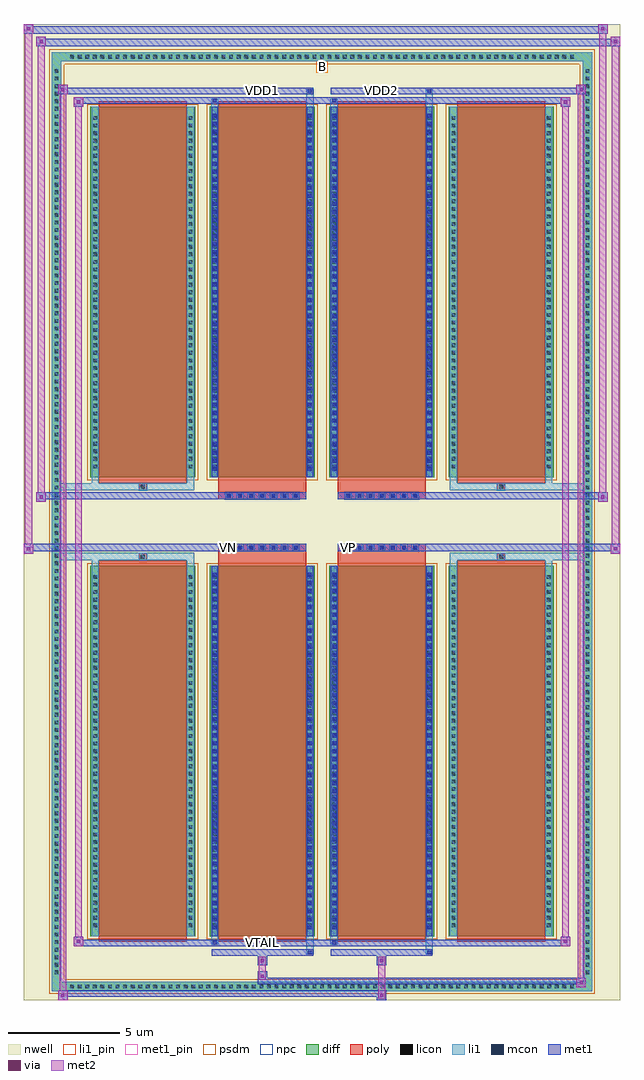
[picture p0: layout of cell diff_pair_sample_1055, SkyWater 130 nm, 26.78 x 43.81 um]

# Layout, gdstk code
import gdstk
lib = gdstk.Library(unit=1e-6, precision=5e-09)
def R(c, l, rs):  # rectangles x0, y0, x1, y1
    for r in rs: c.add(gdstk.rectangle(r[:2], r[2:], *l))
def A(c, l, x, y, w, h, nx, ny, dx, dy):  # array of equal rectangles
    R(c, l, [(x+i*dx, y+j*dy, x+i*dx+w, y+j*dy+h) for i in range(nx) for j in range(ny)])
def P(c, l, *ps):  # polygons
    for p in ps: c.add(gdstk.Polygon(p, *l))
nwell = (64, 20)
diff = (65, 20)
poly = (66, 20)
licon = (66, 44)
li1_pin = (67, 16)
li1 = (67, 20)
mcon = (67, 44)
met1_pin = (68, 16)
met1 = (68, 20)
via = (68, 44)
met2 = (69, 20)
psdm = (94, 20)
npc = (95, 20)

diff_pair_sample_1055 = lib.new_cell('diff_pair_sample_1055')
R(diff_pair_sample_1055, nwell, [(-13.39,-21.47,13.39,22.34), (-10.71,-19.66,-0.01,-0.8), (0.01,-19.66,10.71,-0.8), (-10.71,0.8,-0.01,19.66), (0.01,0.8,10.71,19.66)])
A(diff_pair_sample_1055, diff, -11.425, -21.07, 0.41, 0.41, 67, 2, 0.34, 41.73)
A(diff_pair_sample_1055, diff, -12.12, -20.435, 0.41, 0.41, 1, 120, 0, 0.34)
A(diff_pair_sample_1055, diff, 11.71, -20.435, 0.41, 0.41, 1, 120, 0, 0.34)
A(diff_pair_sample_1055, diff, -10.4, -18.615, 4.72, 16.63, 4, 2, 5.36, 20.6)
R(diff_pair_sample_1055, diff, [(-11.425,-21.07,11.425,-20.66), (-12.12,-20.435,-11.71,20.435), (11.71,-20.435,12.12,20.435), (-11.425,20.66,11.425,21.07)])
P(diff_pair_sample_1055, diff, [(12.12,21.07),(-12.12,21.07),(-12.12,-20.66),(-11.71,-20.66),(-11.71,20.66),(11.71,20.66),(11.71,-20.66),(-11.71,-20.66),(-12.12,-20.66),(-12.12,-21.07),(12.12,-21.07)])
A(diff_pair_sample_1055, poly, -10.01, -18.865, 3.94, 17.13, 4, 2, 5.36, 20.6)
A(diff_pair_sample_1055, poly, -4.345, -1.33, 0.33, 0.33, 7, 2, 0.5, 2.33)
A(diff_pair_sample_1055, poly, 1.015, -1.33, 0.33, 0.33, 7, 2, 0.5, 2.33)
R(diff_pair_sample_1055, poly, [(-8.205,-1.735,-7.875,-1.405), (-8.205,-1.735,-7.875,-1.405), (-4.65,-1.735,-0.71,-1.33), (0.71,-1.735,4.65,-1.33), (7.875,-1.735,8.205,-1.405), (7.875,-1.735,8.205,-1.405), (-4.65,-1.33,-0.71,-1), (0.71,-1.33,4.65,-1), (-4.65,1,-0.71,1.33), (0.71,1,4.65,1.33), (-4.65,1.33,-0.71,1.735), (0.71,1.33,4.65,1.735), (-8.205,1.405,-7.875,1.735), (-8.205,1.405,-7.875,1.735), (7.875,1.405,8.205,1.735), (7.875,1.405,8.205,1.735)])
A(diff_pair_sample_1055, licon, -11.305, -20.95, 0.17, 0.17, 67, 2, 0.34, 41.73)
A(diff_pair_sample_1055, licon, -12, -20.315, 0.17, 0.17, 1, 120, 0, 0.34)
A(diff_pair_sample_1055, licon, 11.83, -20.315, 0.17, 0.17, 1, 120, 0, 0.34)
A(diff_pair_sample_1055, licon, -10.26, -18.205, 0.17, 0.17, 1, 47, 0, 0.34)
A(diff_pair_sample_1055, licon, -5.99, -18.205, 0.17, 0.17, 1, 47, 0, 0.34)
A(diff_pair_sample_1055, licon, -4.9, -18.205, 0.17, 0.17, 1, 47, 0, 0.34)
A(diff_pair_sample_1055, licon, -0.63, -18.205, 0.17, 0.17, 1, 47, 0, 0.34)
A(diff_pair_sample_1055, licon, 0.46, -18.205, 0.17, 0.17, 1, 47, 0, 0.34)
A(diff_pair_sample_1055, licon, 4.73, -18.205, 0.17, 0.17, 1, 47, 0, 0.34)
A(diff_pair_sample_1055, licon, 5.82, -18.205, 0.17, 0.17, 1, 47, 0, 0.34)
A(diff_pair_sample_1055, licon, 10.09, -18.205, 0.17, 0.17, 1, 47, 0, 0.34)
A(diff_pair_sample_1055, licon, -4.265, -1.25, 0.17, 0.17, 7, 2, 0.5, 2.33)
A(diff_pair_sample_1055, licon, 1.095, -1.25, 0.17, 0.17, 7, 2, 0.5, 2.33)
A(diff_pair_sample_1055, licon, -10.26, 2.395, 0.17, 0.17, 1, 47, 0, 0.34)
A(diff_pair_sample_1055, licon, -5.99, 2.395, 0.17, 0.17, 1, 47, 0, 0.34)
A(diff_pair_sample_1055, licon, -4.9, 2.395, 0.17, 0.17, 1, 47, 0, 0.34)
A(diff_pair_sample_1055, licon, -0.63, 2.395, 0.17, 0.17, 1, 47, 0, 0.34)
A(diff_pair_sample_1055, licon, 0.46, 2.395, 0.17, 0.17, 1, 47, 0, 0.34)
A(diff_pair_sample_1055, licon, 4.73, 2.395, 0.17, 0.17, 1, 47, 0, 0.34)
A(diff_pair_sample_1055, licon, 5.82, 2.395, 0.17, 0.17, 1, 47, 0, 0.34)
A(diff_pair_sample_1055, licon, 10.09, 2.395, 0.17, 0.17, 1, 47, 0, 0.34)
R(diff_pair_sample_1055, licon, [(-8.125,-1.655,-7.955,-1.485), (7.955,-1.655,8.125,-1.485), (-8.125,1.485,-7.955,1.655), (7.955,1.485,8.125,1.655)])
R(diff_pair_sample_1055, li1_pin, [(-0.25,20.16,0.25,20.66)])
A(diff_pair_sample_1055, li1, -11.385, -21.03, 0.33, 0.33, 67, 2, 0.34, 41.73)
A(diff_pair_sample_1055, li1, -12.08, -20.395, 0.33, 0.33, 1, 120, 0, 0.34)
A(diff_pair_sample_1055, li1, 11.75, -20.395, 0.33, 0.33, 1, 120, 0, 0.34)
A(diff_pair_sample_1055, li1, -4.9, -18.305, 0.17, 0.17, 1, 45, 0, 0.36)
A(diff_pair_sample_1055, li1, -0.63, -18.305, 0.17, 0.17, 1, 45, 0, 0.36)
A(diff_pair_sample_1055, li1, 0.46, -18.305, 0.17, 0.17, 1, 45, 0, 0.36)
A(diff_pair_sample_1055, li1, 4.73, -18.305, 0.17, 0.17, 1, 45, 0, 0.36)
A(diff_pair_sample_1055, li1, -10.34, -18.285, 0.33, 0.33, 1, 47, 0, 0.34)
A(diff_pair_sample_1055, li1, -6.07, -18.285, 0.33, 0.33, 1, 47, 0, 0.34)
A(diff_pair_sample_1055, li1, -4.98, -18.285, 0.33, 0.33, 1, 47, 0, 0.34)
A(diff_pair_sample_1055, li1, -0.71, -18.285, 0.33, 0.33, 1, 47, 0, 0.34)
A(diff_pair_sample_1055, li1, 0.38, -18.285, 0.33, 0.33, 1, 47, 0, 0.34)
A(diff_pair_sample_1055, li1, 4.65, -18.285, 0.33, 0.33, 1, 47, 0, 0.34)
A(diff_pair_sample_1055, li1, 5.74, -18.285, 0.33, 0.33, 1, 47, 0, 0.34)
A(diff_pair_sample_1055, li1, 10.01, -18.285, 0.33, 0.33, 1, 47, 0, 0.34)
A(diff_pair_sample_1055, li1, -4.345, -1.33, 0.33, 0.33, 7, 2, 0.5, 2.33)
A(diff_pair_sample_1055, li1, 1.015, -1.33, 0.33, 0.33, 7, 2, 0.5, 2.33)
A(diff_pair_sample_1055, li1, -4.9, 2.295, 0.17, 0.17, 1, 45, 0, 0.36)
A(diff_pair_sample_1055, li1, -0.63, 2.295, 0.17, 0.17, 1, 45, 0, 0.36)
A(diff_pair_sample_1055, li1, 0.46, 2.295, 0.17, 0.17, 1, 45, 0, 0.36)
A(diff_pair_sample_1055, li1, 4.73, 2.295, 0.17, 0.17, 1, 45, 0, 0.36)
A(diff_pair_sample_1055, li1, -10.34, 2.315, 0.33, 0.33, 1, 47, 0, 0.34)
A(diff_pair_sample_1055, li1, -6.07, 2.315, 0.33, 0.33, 1, 47, 0, 0.34)
A(diff_pair_sample_1055, li1, -4.98, 2.315, 0.33, 0.33, 1, 47, 0, 0.34)
A(diff_pair_sample_1055, li1, -0.71, 2.315, 0.33, 0.33, 1, 47, 0, 0.34)
A(diff_pair_sample_1055, li1, 0.38, 2.315, 0.33, 0.33, 1, 47, 0, 0.34)
A(diff_pair_sample_1055, li1, 4.65, 2.315, 0.33, 0.33, 1, 47, 0, 0.34)
A(diff_pair_sample_1055, li1, 5.74, 2.315, 0.33, 0.33, 1, 47, 0, 0.34)
A(diff_pair_sample_1055, li1, 10.01, 2.315, 0.33, 0.33, 1, 47, 0, 0.34)
R(diff_pair_sample_1055, li1, [(-12.12,-21.07,-11.71,-20.66), (-12.12,-21.07,-11.71,-20.66), (-11.71,-21.07,11.71,-20.66), (11.71,-21.07,12.12,-20.66), (11.71,-21.07,12.12,-20.66), (-12.12,-20.66,-11.71,20.66), (11.71,-20.66,12.12,20.66), (-0.71,-19.42,-0.38,-18.615), (-0.63,-19.42,-0.46,-19.25), (4.65,-19.42,4.98,-18.615), (4.73,-19.42,4.9,-19.25), (-4.98,-18.99,-4.65,-18.615), (-4.9,-18.99,-4.73,-18.82), (0.38,-18.99,0.71,-18.615), (0.46,-18.99,0.63,-18.82), (-10.34,-18.615,-10.01,-1.985), (-6.07,-18.615,-5.74,-1.985), (-4.98,-18.615,-4.65,-1.985), (-0.71,-18.615,-0.38,-1.985), (0.38,-18.615,0.71,-1.985), (4.65,-18.615,4.98,-1.985), (5.74,-18.615,6.07,-1.985), (10.01,-18.615,10.34,-1.985), (-4.9,-18.305,-4.73,-2.295), (-0.63,-18.305,-0.46,-2.295), (0.46,-18.305,0.63,-2.295), (4.73,-18.305,4.9,-2.295), (-10.34,-1.985,-10.01,-1.405), (-6.07,-1.985,-5.74,-1.405), (5.74,-1.985,6.07,-1.405), (10.01,-1.985,10.34,-1.405), (-12.12,-1.735,-8.205,-1.405), (-10.34,-1.735,-8.205,-1.405), (-8.205,-1.735,-7.875,-1.405), (-7.875,-1.735,-5.74,-1.405), (5.74,-1.735,7.875,-1.405), (7.875,-1.735,8.205,-1.405), (7.875,-1.735,12.12,-1.405), (8.205,-1.735,10.34,-1.405), (-12.12,1.405,-8.205,1.735), (-10.34,1.405,-8.205,1.735), (-10.34,1.405,-10.01,1.985), (-8.205,1.405,-7.875,1.735), (-7.875,1.405,-5.74,1.735), (-6.07,1.405,-5.74,1.985), (5.74,1.405,7.875,1.735), (5.74,1.405,6.07,1.985), (7.875,1.405,8.205,1.735), (7.875,1.405,12.12,1.735), (8.205,1.405,10.34,1.735), (10.01,1.405,10.34,1.985), (-10.34,1.985,-10.01,18.615), (-6.07,1.985,-5.74,18.615), (-4.98,1.985,-4.65,18.615), (-0.71,1.985,-0.38,18.615), (0.38,1.985,0.71,18.615), (4.65,1.985,4.98,18.615), (5.74,1.985,6.07,18.615), (10.01,1.985,10.34,18.615), (-4.9,2.295,-4.73,18.305), (-0.63,2.295,-0.46,18.305), (0.46,2.295,0.63,18.305), (4.73,2.295,4.9,18.305), (-4.98,18.615,-4.65,18.99), (-0.71,18.615,-0.38,19.42), (0.38,18.615,0.71,18.99), (4.65,18.615,4.98,19.42), (-4.9,18.82,-4.73,18.99), (0.46,18.82,0.63,18.99), (-0.63,19.25,-0.46,19.42), (4.73,19.25,4.9,19.42), (-12.12,20.66,-11.71,21.07), (-12.12,20.66,-11.71,21.07), (-11.71,20.66,11.71,21.07), (11.71,20.66,12.12,21.07), (11.71,20.66,12.12,21.07)])
A(diff_pair_sample_1055, mcon, -4.9, -18.305, 0.17, 0.17, 1, 45, 0, 0.36)
A(diff_pair_sample_1055, mcon, -0.63, -18.305, 0.17, 0.17, 1, 45, 0, 0.36)
A(diff_pair_sample_1055, mcon, 0.46, -18.305, 0.17, 0.17, 1, 45, 0, 0.36)
A(diff_pair_sample_1055, mcon, 4.73, -18.305, 0.17, 0.17, 1, 45, 0, 0.36)
A(diff_pair_sample_1055, mcon, -4.265, -1.25, 0.17, 0.17, 7, 2, 0.5, 2.33)
A(diff_pair_sample_1055, mcon, 1.095, -1.25, 0.17, 0.17, 7, 2, 0.5, 2.33)
A(diff_pair_sample_1055, mcon, -4.9, 2.295, 0.17, 0.17, 1, 45, 0, 0.36)
A(diff_pair_sample_1055, mcon, -0.63, 2.295, 0.17, 0.17, 1, 45, 0, 0.36)
A(diff_pair_sample_1055, mcon, 0.46, 2.295, 0.17, 0.17, 1, 45, 0, 0.36)
A(diff_pair_sample_1055, mcon, 4.73, 2.295, 0.17, 0.17, 1, 45, 0, 0.36)
R(diff_pair_sample_1055, mcon, [(-0.63,-19.42,-0.46,-19.25), (4.73,-19.42,4.9,-19.25), (-4.9,-18.99,-4.73,-18.82), (0.46,-18.99,0.63,-18.82), (-4.9,18.82,-4.73,18.99), (0.46,18.82,0.63,18.99), (-0.63,19.25,-0.46,19.42), (4.73,19.25,4.9,19.42)])
R(diff_pair_sample_1055, met1_pin, [(-2.815,-19.03,-2.545,-18.76), (-4.315,-1.29,-4.045,-1.02), (1.045,-1.29,1.315,-1.02), (-2.815,19.21,-2.545,19.48), (2.545,19.21,2.815,19.48)])
A(diff_pair_sample_1055, met1, -4.96, -18.365, 0.29, 0.29, 1, 45, 0, 0.36)
A(diff_pair_sample_1055, met1, -0.69, -18.365, 0.29, 0.29, 1, 45, 0, 0.36)
A(diff_pair_sample_1055, met1, 0.4, -18.365, 0.29, 0.29, 1, 45, 0, 0.36)
A(diff_pair_sample_1055, met1, 4.67, -18.365, 0.29, 0.29, 1, 45, 0, 0.36)
A(diff_pair_sample_1055, met1, -4.325, -1.31, 0.29, 0.29, 7, 2, 0.5, 2.33)
A(diff_pair_sample_1055, met1, 1.035, -1.31, 0.29, 0.29, 7, 2, 0.5, 2.33)
A(diff_pair_sample_1055, met1, -4.96, 2.235, 0.29, 0.29, 1, 45, 0, 0.36)
A(diff_pair_sample_1055, met1, -0.69, 2.235, 0.29, 0.29, 1, 45, 0, 0.36)
A(diff_pair_sample_1055, met1, 0.4, 2.235, 0.29, 0.29, 1, 45, 0, 0.36)
A(diff_pair_sample_1055, met1, 4.67, 2.235, 0.29, 0.29, 1, 45, 0, 0.36)
R(diff_pair_sample_1055, met1, [(-11.85,-21.47,-11.42,-21.04), (2.465,-21.47,2.895,-21.04), (-11.85,-21.33,2.895,-21.04), (11.42,-20.9,11.85,-20.47), (-2.895,-20.76,11.85,-20.47), (-2.895,-20.62,-2.465,-20.19), (-2.895,-19.91,-2.465,-19.48), (2.465,-19.91,2.895,-19.48), (-4.96,-19.48,-0.4,-19.19), (-0.69,-19.48,-0.4,-19.19), (0.4,-19.48,4.96,-19.19), (4.67,-19.48,4.96,-19.19), (-11.14,-19.05,-10.71,-18.62), (-11.14,-19.05,-4.96,-18.76), (-4.96,-19.05,-4.67,-18.76), (-4.96,-19.05,-0.4,-18.76), (-0.4,-19.05,0.4,-18.76), (0.4,-19.05,0.69,-18.76), (0.4,-19.05,4.96,-18.76), (4.96,-19.05,11.14,-18.76), (10.71,-19.05,11.14,-18.62), (-4.96,-18.615,-4.67,-1.985), (-0.69,-18.615,-0.4,-1.985), (0.4,-18.615,0.69,-1.985), (4.67,-18.615,4.96,-1.985), (-13.39,-1.43,-12.96,-1), (12.96,-1.43,13.39,-1), (-13.39,-1.33,-0.71,-1), (-4.65,-1.33,-0.71,-1), (0.71,-1.33,4.65,-1), (0.71,-1.33,13.39,-1), (-12.82,0.9,-12.39,1.33), (12.39,0.9,12.82,1.33), (-12.82,1,-4.65,1.33), (-4.65,1,-0.71,1.33), (0.71,1,4.65,1.33), (4.65,1,12.82,1.33), (-4.96,1.985,-4.67,18.615), (-0.69,1.985,-0.4,18.615), (0.4,1.985,0.69,18.615), (4.67,1.985,4.96,18.615), (-11.14,18.62,-10.71,19.05), (10.71,18.62,11.14,19.05), (-11.14,18.76,-4.96,19.05), (-4.96,18.76,-4.67,19.05), (-4.96,18.76,-0.4,19.05), (-0.4,18.76,0.4,19.05), (0.4,18.76,0.69,19.05), (0.4,18.76,4.96,19.05), (4.96,18.76,11.14,19.05), (-11.85,19.19,-11.42,19.62), (-11.85,19.19,-4.96,19.48), (-4.96,19.19,-0.4,19.48), (-0.69,19.19,-0.4,19.48), (0.4,19.19,4.96,19.48), (4.67,19.19,4.96,19.48), (4.96,19.19,11.85,19.48), (11.42,19.19,11.85,19.62), (-12.82,21.34,-12.39,21.77), (-12.82,21.34,-10.71,21.67), (-10.71,21.34,10.71,21.67), (10.71,21.34,13.39,21.67), (12.96,21.34,13.39,21.77), (-13.39,21.91,-12.96,22.34), (-13.39,21.91,-10.71,22.24), (-10.71,21.91,10.71,22.24), (10.71,21.91,12.82,22.24), (12.39,21.91,12.82,22.34)])
R(diff_pair_sample_1055, via, [(-11.71,-21.33,-11.56,-21.18), (2.605,-21.33,2.755,-21.18), (11.56,-20.76,11.71,-20.61), (-2.755,-20.48,-2.605,-20.33), (-2.755,-19.77,-2.605,-19.62), (2.605,-19.77,2.755,-19.62), (-11,-18.91,-10.85,-18.76), (10.85,-18.91,11,-18.76), (-13.25,-1.29,-13.1,-1.14), (13.1,-1.29,13.25,-1.14), (-12.68,1.04,-12.53,1.19), (12.53,1.04,12.68,1.19), (-11,18.76,-10.85,18.91), (10.85,18.76,11,18.91), (-11.71,19.33,-11.56,19.48), (11.56,19.33,11.71,19.48), (-12.68,21.48,-12.53,21.63), (13.1,21.48,13.25,21.63), (-13.25,22.05,-13.1,22.2), (12.53,22.05,12.68,22.2)])
R(diff_pair_sample_1055, met2, [(-11.85,-21.47,-11.42,-21.04), (-11.78,-21.47,-11.49,19.62), (-11.49,-21.47,-11.42,-21.04), (-11.8,-21.42,-11.47,-21.09), (2.515,-21.42,2.845,-21.09), (2.515,-21.09,2.845,-19.86), (11.42,-20.9,11.85,-20.47), (11.49,-20.9,11.78,19.62), (11.78,-20.9,11.85,-20.47), (11.47,-20.85,11.8,-20.52), (-2.845,-20.57,-2.515,-20.24), (-2.845,-20.24,-2.515,-19.86), (-2.845,-19.86,-2.515,-19.53), (2.515,-19.86,2.845,-19.53), (-11.14,-19.05,-10.71,-18.62), (-11.07,-19.05,-10.78,19.05), (-10.78,-19.05,-10.71,-18.62), (10.71,-19.05,11.14,-18.62), (10.78,-19.05,11.07,19.05), (11.07,-19.05,11.14,-18.62), (-11.09,-19,-10.76,-18.67), (10.76,-19,11.09,-18.67), (-13.39,-1.43,-12.96,-1), (-13.34,-1.43,-13.01,22.34), (-13.01,-1.43,-12.96,-1), (12.96,-1.43,13.39,-1), (13.01,-1.43,13.34,21.77), (13.34,-1.43,13.39,-1), (-13.34,-1.38,-13.01,-1.05), (13.01,-1.38,13.34,-1.05), (-12.82,0.9,-12.39,1.33), (-12.77,0.9,-12.44,21.77), (-12.44,0.9,-12.39,1.33), (12.39,0.9,12.82,1.33), (12.44,0.9,12.77,22.34), (12.77,0.9,12.82,1.33), (-12.77,0.95,-12.44,1.28), (12.44,0.95,12.77,1.28), (-11.14,18.62,-10.71,19.05), (-10.78,18.62,-10.71,19.05), (10.71,18.62,11.14,19.05), (11.07,18.62,11.14,19.05), (-11.09,18.67,-10.76,19), (10.76,18.67,11.09,19), (-11.85,19.19,-11.42,19.62), (-11.49,19.19,-11.42,19.62), (11.42,19.19,11.85,19.62), (11.78,19.19,11.85,19.62), (-11.8,19.24,-11.47,19.57), (11.47,19.24,11.8,19.57), (-12.82,21.34,-12.39,21.77), (-12.44,21.34,-12.39,21.77), (12.96,21.34,13.39,21.77), (13.34,21.34,13.39,21.77), (-12.77,21.39,-12.44,21.72), (13.01,21.39,13.34,21.72), (-13.39,21.91,-12.96,22.34), (-13.01,21.91,-12.96,22.34), (12.39,21.91,12.82,22.34), (12.77,21.91,12.82,22.34), (-13.34,21.96,-13.01,22.29), (12.44,21.96,12.77,22.29)])
A(diff_pair_sample_1055, psdm, -10.53, -18.745, 4.98, 16.89, 4, 2, 5.36, 20.6)
P(diff_pair_sample_1055, psdm, [(12.25,21.2),(-12.25,21.2),(-12.25,-20.53),(-11.58,-20.53),(-11.58,20.53),(11.58,20.53),(11.58,-20.53),(-11.58,-20.53),(-12.25,-20.53),(-12.25,-21.2),(12.25,-21.2)])
A(diff_pair_sample_1055, npc, -4.365, -1.35, 0.37, 0.37, 7, 2, 0.5, 2.33)
A(diff_pair_sample_1055, npc, 0.995, -1.35, 0.37, 0.37, 7, 2, 0.5, 2.33)
R(diff_pair_sample_1055, npc, [(-8.225,-1.755,-7.855,-1.385), (7.855,-1.755,8.225,-1.385), (-4.365,-1.35,-3.495,-0.98), (-4.365,-1.35,-3.495,-0.98), (-3.865,-1.35,-2.995,-0.98), (-3.865,-1.35,-2.995,-0.98), (-3.365,-1.35,-2.495,-0.98), (-3.365,-1.35,-2.495,-0.98), (-2.865,-1.35,-1.995,-0.98), (-2.865,-1.35,-1.995,-0.98), (-2.365,-1.35,-1.495,-0.98), (-2.365,-1.35,-1.495,-0.98), (-1.865,-1.35,-0.995,-0.98), (-1.865,-1.35,-0.995,-0.98), (0.995,-1.35,1.865,-0.98), (0.995,-1.35,1.865,-0.98), (1.495,-1.35,2.365,-0.98), (1.495,-1.35,2.365,-0.98), (1.995,-1.35,2.865,-0.98), (1.995,-1.35,2.865,-0.98), (2.495,-1.35,3.365,-0.98), (2.495,-1.35,3.365,-0.98), (2.995,-1.35,3.865,-0.98), (2.995,-1.35,3.865,-0.98), (3.495,-1.35,4.365,-0.98), (3.495,-1.35,4.365,-0.98), (-4.365,0.98,-3.495,1.35), (-4.365,0.98,-3.495,1.35), (-3.865,0.98,-2.995,1.35), (-3.865,0.98,-2.995,1.35), (-3.365,0.98,-2.495,1.35), (-3.365,0.98,-2.495,1.35), (-2.865,0.98,-1.995,1.35), (-2.865,0.98,-1.995,1.35), (-2.365,0.98,-1.495,1.35), (-2.365,0.98,-1.495,1.35), (-1.865,0.98,-0.995,1.35), (-1.865,0.98,-0.995,1.35), (0.995,0.98,1.865,1.35), (0.995,0.98,1.865,1.35), (1.495,0.98,2.365,1.35), (1.495,0.98,2.365,1.35), (1.995,0.98,2.865,1.35), (1.995,0.98,2.865,1.35), (2.495,0.98,3.365,1.35), (2.495,0.98,3.365,1.35), (2.995,0.98,3.865,1.35), (2.995,0.98,3.865,1.35), (3.495,0.98,4.365,1.35), (3.495,0.98,4.365,1.35), (-8.225,1.385,-7.855,1.755), (7.855,1.385,8.225,1.755)])
diff_pair_sample_1055.add(gdstk.Label('VTAIL', (-2.68,-18.895), layer=68, texttype=5))
diff_pair_sample_1055.add(gdstk.Label('VN', (-4.18,-1.155), layer=68, texttype=5))
diff_pair_sample_1055.add(gdstk.Label('VP', (1.18,-1.155), layer=68, texttype=5))
diff_pair_sample_1055.add(gdstk.Label('B', (0,20.41), layer=67, texttype=5))
diff_pair_sample_1055.add(gdstk.Label('VDD2', (2.68,19.345), layer=68, texttype=5))
diff_pair_sample_1055.add(gdstk.Label('VDD1', (-2.68,19.345), layer=68, texttype=5))

lib.write_gds('diff_pair_sample_1055.gds')
